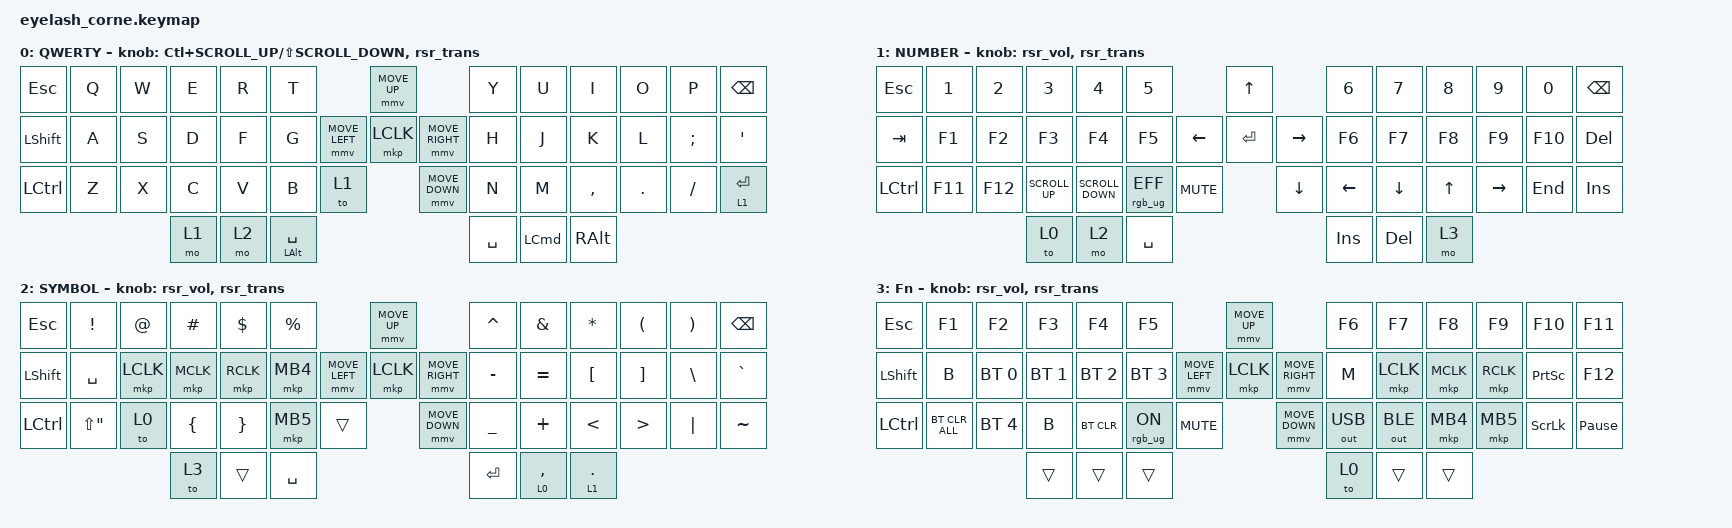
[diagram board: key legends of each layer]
#define ZMK_POINTING_DEFAULT_MOVE_VAL 1200  // 600
#define ZMK_POINTING_DEFAULT_SCRL_VAL 25   // 10

#include <input/processors.dtsi>
#include <zephyr/dt-bindings/input/input-event-codes.h>
#include <behaviors/runtime-sensor-rotate.dtsi>
#include <behaviors.dtsi>
#include <dt-bindings/zmk/bt.h>
#include <dt-bindings/zmk/keys.h>
#include <dt-bindings/zmk/outputs.h>
#include <dt-bindings/zmk/pointing.h>
#include <dt-bindings/zmk/rgb.h>

&soft_off { hold-time-ms = <2000>; };

/ {
    behaviors {
        td0: td0 {
            compatible = "zmk,behavior-tap-dance";
            display-name = "Shift/Caps Lock Tap Dance";
            #binding-cells = <0>;
            bindings = <&kp LEFT_SHIFT>, <&kp CAPS>;
        };

        rsr_vol: rsr_vol {
            compatible = "zmk,behavior-runtime-sensor-rotate";
            #sensor-binding-cells = <0>;
            tap-ms = <5>;
            cw-binding = <&kp C_VOL_UP>;
            ccw-binding = <&kp C_VOL_DN>;
        };

        rsr_trans: rsr_trans {
            compatible = "zmk,behavior-runtime-sensor-rotate";
            #sensor-binding-cells = <0>;
            tap-ms = <0>;
        };
    };

    combos {
        compatible = "zmk,combos";

        softoff {
            bindings = <&soft_off>;
            key-positions = <1 15 29>;
        };
    };

    keymap {
        compatible = "zmk,keymap";

        default_layer {
            display-name = "QWERTY";
            bindings = <
&kp ESC         &kp Q  &kp W  &kp E  &kp R  &kp T                                        &mmv MOVE_UP                     &kp Y      &kp U     &kp I      &kp O    &kp P     &kp BSPC
&kp LEFT_SHIFT  &kp A  &kp S  &kp D  &kp F  &kp G                        &mmv MOVE_LEFT  &mkp LCLK       &mmv MOVE_RIGHT  &kp H      &kp J     &kp K      &kp L    &kp SEMI  &kp SQT
&kp LCTRL       &kp Z  &kp X  &kp C  &kp V  &kp B               &to 1                    &mmv MOVE_DOWN                   &kp N      &kp M     &kp COMMA  &kp DOT  &kp FSLH  &lt 1 ENTER
                              &mo 1  &mo 2  &mt LEFT_ALT SPACE                                                            &kp SPACE  &kp LCMD  &kp RALT
            >;

            sensor-bindings =
                <&inc_dec_kp LC(K_SCROLL_UP) LS(K_SCROLL_DOWN)>,
                <&rsr_trans>;
        };

        lower_layer {
            display-name = "NUMBER";
            bindings = <
&kp ESCAPE  &kp N1   &kp N2   &kp N3           &kp N4             &kp N5                                   &kp UP_ARROW             &kp N6    &kp N7    &kp N8        &kp N9     &kp N0   &kp BSPC
&kp TAB     &kp F1   &kp F2   &kp F3           &kp F4             &kp F5                         &kp LEFT  &kp ENTER     &kp RIGHT  &kp F6    &kp F7    &kp F8        &kp F9     &kp F10  &kp DEL
&kp LCTRL   &kp F11  &kp F12  &kp K_SCROLL_UP  &kp K_SCROLL_DOWN  &rgb_ug RGB_EFF  &kp C_MUTE              &kp DOWN                 &kp LEFT  &kp DOWN  &kp UP_ARROW  &kp RIGHT  &kp END  &kp INS
                              &to 0            &mo 2              &kp SPACE                                                         &kp INS   &kp DEL   &mo 3
            >;

            sensor-bindings = <&rsr_vol &rsr_trans>;
        };

        raise_layer {
            display-name = "SYMBOL";
            bindings = <
&kp ESCAPE      &kp EXCL               &kp AT     &kp HASH        &kp DLLR         &kp PRCNT                            &mmv MOVE_UP                     &kp CARET  &kp AMPS     &kp ASTRK      &kp LPAR          &kp RPAR  &kp BSPC
&kp LEFT_SHIFT  &kp SPACE              &mkp LCLK  &mkp MCLK       &mkp RCLK        &mkp MB4             &mmv MOVE_LEFT  &mkp LCLK       &mmv MOVE_RIGHT  &kp MINUS  &kp EQUAL    &kp LBKT       &kp RBKT          &kp BSLH  &kp GRAVE
&kp LCTRL       &kp LS(DOUBLE_QUOTES)  &to 0      &kp LEFT_BRACE  &kp RIGHT_BRACE  &mkp MB5   &trans                    &mmv MOVE_DOWN                   &kp UNDER  &kp PLUS     &kp LESS_THAN  &kp GREATER_THAN  &kp PIPE  &kp TILDE
                                                  &to 3           &trans           &kp SPACE                                                             &kp RET    &lt 0 COMMA  &lt 1 PERIOD
            >;

            sensor-bindings = <&rsr_vol &rsr_trans>;
        };

        layer_3 {
            display-name = "Fn";
            bindings = <
&kp ESC         &kp F1          &kp F2        &kp F3        &kp F4        &kp F5                                        &mmv MOVE_UP                     &kp F6        &kp F7        &kp F8     &kp F9     &kp F10          &kp F11
&kp LEFT_SHIFT  &kp B           &bt BT_SEL 0  &bt BT_SEL 1  &bt BT_SEL 2  &bt BT_SEL 3                  &mmv MOVE_LEFT  &mkp LCLK       &mmv MOVE_RIGHT  &kp M         &mkp LCLK     &mkp MCLK  &mkp RCLK  &kp PRINTSCREEN  &kp F12
&kp LCTRL       &bt BT_CLR_ALL  &bt BT_SEL 4  &kp B         &bt BT_CLR    &rgb_ug RGB_ON  &kp C_MUTE                    &mmv MOVE_DOWN                   &out OUT_USB  &out OUT_BLE  &mkp MB4   &mkp MB5   &kp SCROLLLOCK   &kp PAUSE_BREAK
                                              &trans        &trans        &trans                                                                         &to 0         &trans        &trans
            >;

            sensor-bindings = <&rsr_vol &rsr_trans>;
        };
    };
};
